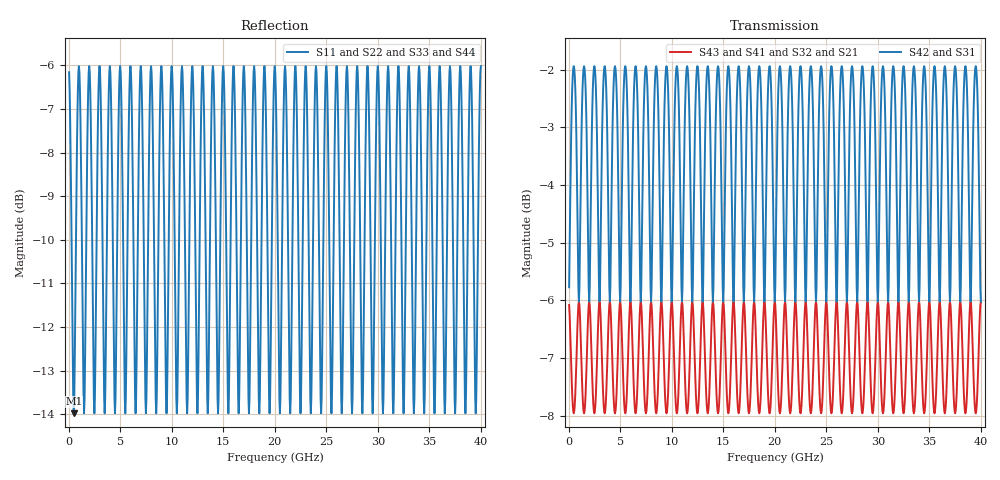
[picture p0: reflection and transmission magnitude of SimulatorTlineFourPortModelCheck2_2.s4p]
# MHz MA S R 50.0
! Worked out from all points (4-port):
!   800 points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, 50 MHz to 40 GHz, reference 50 ohm
!   strongest paths, dB at 50 MHz, 10.05 GHz, 20.05 GHz, 30.05 GHz, 40 GHz:
!     S42: -5.8, -5.8, -5.8, -5.8, -6.0
!     S31: -5.8, -5.8, -5.8, -5.8, -6.0
!     S43: -6.1, -6.1, -6.1, -6.1, -6.0
!     S41: -6.1, -6.1, -6.1, -6.1, -6.0
!     S32: -6.1, -6.1, -6.1, -6.1, -6.0
!     S21: -6.1, -6.1, -6.1, -6.1, -6.0
!   lowest |S11| = -14.0 dB at 500 MHz (marker M1), VSWR 1.50, Z = 75 + j0 ohm
!   |S11| at or under -10 dB: 286.7 MHz to 713.3 MHz (426.7 MHz wide, 85.3 % of centre); 1.287 GHz to 1.713 GHz (426.7 MHz wide, 28.4 % of centre); 2.287 GHz to 2.713 GHz (426.7 MHz wide, 17.1 % of centre)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
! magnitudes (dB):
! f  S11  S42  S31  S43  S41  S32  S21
! 50 MHz  -6.2  -5.8  -5.8  -6.1  -6.1  -6.1  -6.1
! 500 MHz  -14.0  -1.9  -1.9  -8.0  -8.0  -8.0  -8.0
! 1 GHz  -6.0  -6.0  -6.0  -6.0  -6.0  -6.0  -6.0
! 1.5 GHz  -14.0  -1.9  -1.9  -8.0  -8.0  -8.0  -8.0
! 2 GHz  -6.0  -6.0  -6.0  -6.0  -6.0  -6.0  -6.0
! 39.5 GHz  -14.0  -1.9  -1.9  -8.0  -8.0  -8.0  -8.0
! 40 GHz  -6.0  -6.0  -6.0  -6.0  -6.0  -6.0  -6.0
